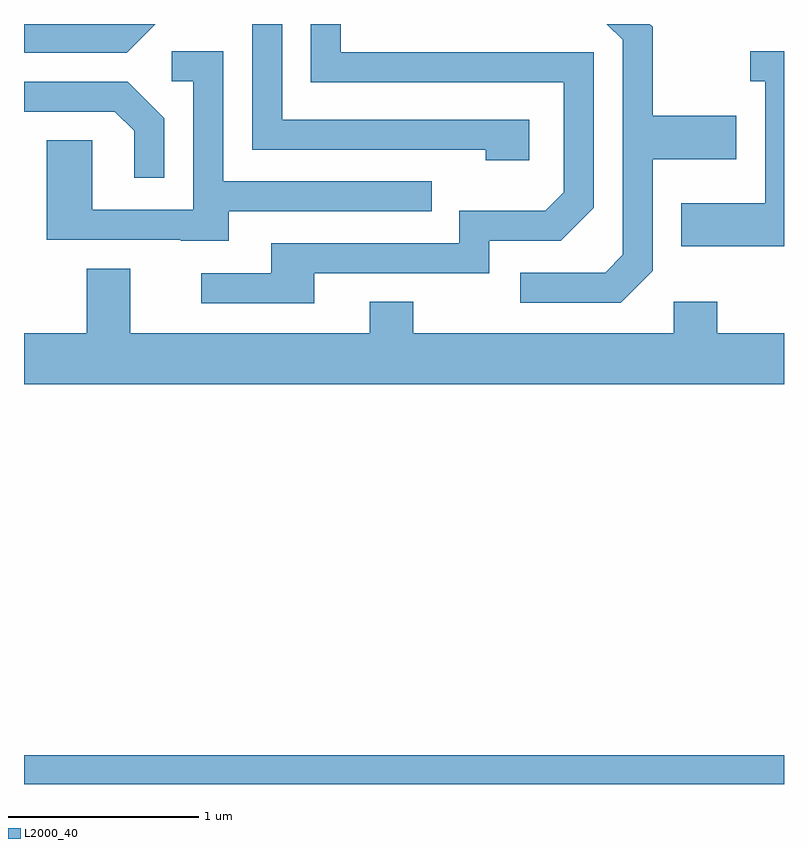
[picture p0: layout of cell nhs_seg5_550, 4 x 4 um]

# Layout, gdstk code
import gdstk
lib = gdstk.Library(unit=1e-6, precision=1e-09)
def R(c, l, rs):  # rectangles x0, y0, x1, y1
    for r in rs: c.add(gdstk.rectangle(r[:2], r[2:], *l))
def P(c, l, *ps):  # polygons
    for p in ps: c.add(gdstk.Polygon(p, *l))
L2000_40 = (2000, 40)

nhs_seg5_550 = lib.new_cell('nhs_seg5_550')
R(nhs_seg5_550, L2000_40, [(201.611,1408.072,205.611,1408.224)])
P(nhs_seg5_550, L2000_40, [(204.919,1410.774),(204.919,1411.361),(205.359,1411.361),(205.359,1411.589),(204.919,1411.589),(204.919,1412.057),(204.904,1412.072),(204.678,1412.072),(204.761,1411.989),(204.761,1410.857),(204.669,1410.764),(204.223,1410.764),(204.223,1410.606),(204.752,1410.606)],
  [(203.139,1410.761),(204.059,1410.761),(204.059,1410.931),(204.437,1410.931),(204.609,1411.104),(204.609,1411.924),(203.279,1411.924),(203.279,1412.072),(203.121,1412.072),(203.121,1411.766),(204.451,1411.766),(204.451,1411.187),(204.354,1411.089),(203.901,1411.089),(203.901,1410.919),(202.911,1410.919),(202.911,1410.759),(202.543,1410.759),(202.543,1410.601),(203.139,1410.601)],
  [(202.303,1412.072),(201.611,1412.072),(201.611,1411.924),(201.614,1411.921),(202.152,1411.921)],
  [(204.269,1411.569),(202.969,1411.569),(202.969,1412.072),(202.811,1412.072),(202.811,1411.411),(204.041,1411.411),(204.041,1411.356),(204.269,1411.356)],
  [(205.611,1411.929),(205.433,1411.929),(205.433,1411.771),(205.511,1411.771),(205.511,1411.129),(205.071,1411.129),(205.071,1410.901),(205.611,1410.901)],
  [(202.689,1411.086),(203.758,1411.086),(203.758,1411.244),(202.659,1411.244),(202.659,1411.929),(202.388,1411.929),(202.388,1411.771),(202.501,1411.771),(202.501,1411.094),(201.969,1411.094),(201.969,1411.459),(201.731,1411.459),(201.731,1410.936),(202.435,1410.936),(202.435,1410.931),(202.689,1410.931)],
  [(202.349,1411.577),(202.157,1411.769),(201.611,1411.769),(201.611,1411.611),(202.089,1411.611),(202.191,1411.509),(202.191,1411.263),(202.349,1411.263)],
  [(205.611,1410.444),(205.259,1410.444),(205.259,1410.609),(205.031,1410.609),(205.031,1410.444),(203.659,1410.444),(203.659,1410.609),(203.431,1410.609),(203.431,1410.444),(202.169,1410.444),(202.169,1410.784),(201.941,1410.784),(201.941,1410.444),(201.611,1410.444),(201.611,1410.176),(205.611,1410.176)])

lib.write_gds('nhs_seg5_550.gds')
